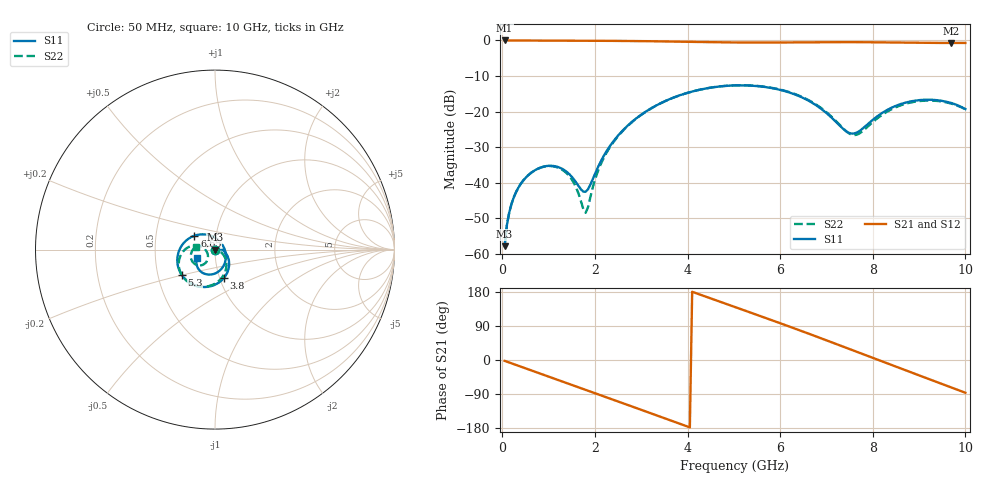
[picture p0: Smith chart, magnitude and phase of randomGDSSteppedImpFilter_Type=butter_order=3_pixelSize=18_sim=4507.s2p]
! freq	dB(S11)	phase(S11)	dB(S12)	phase(S12)
!  dB(S21)	phase(S21)	dB(S22)	phase(S22)
!S-par simulation data
#  GHz  S  DB  R 50
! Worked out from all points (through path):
!   200 points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, 50 MHz to 10 GHz, reference 50 ohm
!   highest |S21| = -0.01 dB at 50 MHz (marker M1); lowest = -0.7 dB at 9.7 GHz (marker M2)
!   group delay of S21, straight-line fit = 124 ps
!   lowest |S11| = -57.8 dB at 50 MHz (marker M3), VSWR 1.00, Z = 50 - j0.127 ohm
!   |S11| at or under -10 dB: start of sweep to end of sweep
!   |S22| runs from -57.8 to -12.6 dB; largest |S21 - S12| = 0
!   S11 on the Smith chart (normalised r, x): 50 MHz: 1.00, -0.00; 3.8 GHz: 1.04, -0.34; 5.3 GHz: 0.66, -0.20; 6.65 GHz: 0.79, +0.12; 10 GHz: 0.82, -0.08
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0.05  -57.82 -81.3  -0.01 -2.2  -0.01 -2.2  -57.80 -80.8
0.15  -48.36 -93.9  -0.01 -6.6  -0.01 -6.6  -48.33 -92.4
0.25  -44.05 -100.5  -0.02 -11.0  -0.02 -11.0  -44.02 -98.0
0.75  -36.17 -129.0  -0.04 -32.8  -0.04 -32.8  -36.19 -120.3
1.35  -36.54 -168.1  -0.06 -58.9  -0.06 -58.9  -36.87 -140.5
1.55  -39.11 169.2  -0.07 -67.7  -0.07 -67.7  -40.16 -141.1
1.75  -42.49 120.0  -0.08 -76.4  -0.08 -76.4  -47.43 -108.8
1.8  -42.53 101.2  -0.09 -78.6  -0.09 -78.6  -48.44 -80.7
2.1  -34.70 27.7  -0.10 -91.8  -0.10 -91.8  -35.59 -19.2
2.4  -28.33 0.7  -0.12 -105.0  -0.12 -105.0  -28.58 -24.5
3.4  -17.77 -53.9  -0.26 -149.2  -0.26 -149.2  -17.79 -62.4
3.8  -15.56 -73.1  -0.34 -166.8  -0.34 -166.8  -15.57 -78.8
4.4  -13.50 -101.1  -0.47 166.9  -0.47 166.9  -13.48 -103.3
5.05  -12.63 -131.2  -0.57 138.6  -0.57 138.6  -12.59 -129.4
5.3  -12.66 -142.9  -0.59 127.8  -0.59 127.8  -12.61 -139.2
6  -13.90 -177.1  -0.58 97.1  -0.58 97.1  -13.80 -165.9
6.65  -17.20 145.9  -0.51 68.0  -0.51 68.0  -17.02 172.9
6.7  -17.58 142.6  -0.51 65.7  -0.51 65.7  -17.40 171.6
7.6  -26.15 25.4  -0.48 24.1  -0.48 24.1  -26.61 -157.6
8.35  -19.27 -67.9  -0.57 -10.7  -0.57 -10.7  -19.71 -127.4
9.7  -17.61 -141.2  -0.70 -72.5  -0.70 -72.5  -17.77 -175.7
10  -19.28 -154.9  -0.70 -86.4  -0.70 -86.4  -19.38 170.9
